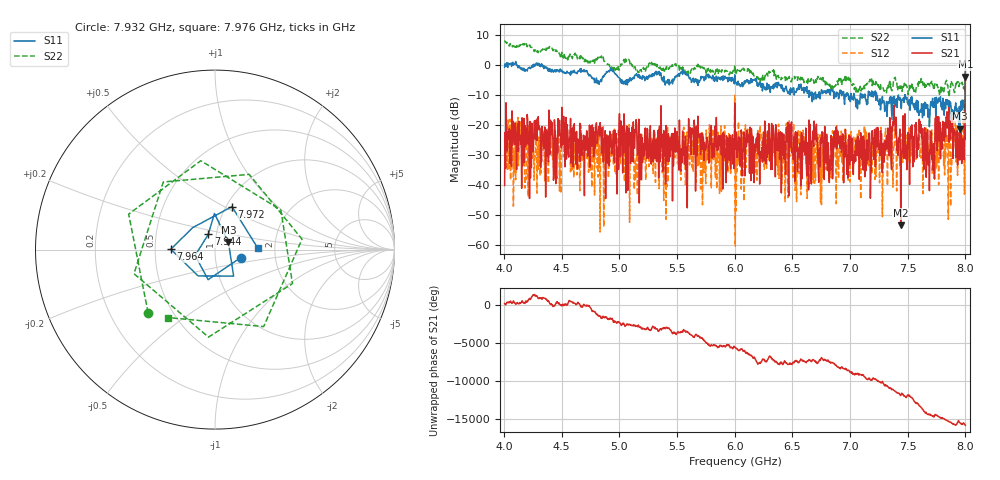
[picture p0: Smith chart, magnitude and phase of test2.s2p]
# Hz S RI R 50
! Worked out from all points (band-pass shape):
!   1000 points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, 4.004 GHz to 8 GHz, reference 50 ohm
!   highest |S21| = -4.05 dB at 8 GHz (marker M1); lowest = -53.6 dB at 7.44 GHz (marker M2)
!   |S21| within 3 dB of the highest: 7.99943 GHz to end of sweep
!   lowest |S11| = -21.3 dB at 7.952 GHz (marker M3), VSWR 1.19, Z = 57.8 + j4.95 ohm
!   |S11| at or under -10 dB: 7.034 GHz to 7.088 GHz (53.79 MHz wide, 0.762 % of centre); 7.23 GHz to 7.476 GHz (245.9 MHz wide, 3.34 % of centre); 7.476 GHz to 7.997 GHz (521.2 MHz wide, 6.74 % of centre) (the widest 3 of 30)
!   |S22| runs from -10.8 to 8.0 dB; largest |S21 - S12| = 1.5
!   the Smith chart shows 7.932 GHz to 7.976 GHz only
!   S11 on the Smith chart (normalised r, x): 7.932 GHz: 1.33, -0.12; 7.944 GHz: 0.92, +0.16; 7.964 GHz: 0.60, +0.00; 7.972 GHz: 1.06, +0.55; 7.976 GHz: 1.63, +0.03
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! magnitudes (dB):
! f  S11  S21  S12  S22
! 4.004 GHz  -0.9  -40.3  -24.7  8.0
! 4.028 GHz  -0.7  -28.8  -35.3  6.8
! 4.232 GHz  -0.9  -21.1  -29.3  5.7
! 4.28 GHz  0.5  -21.3  -22.0  4.5
! 4.444 GHz  -2.2  -22.8  -36.5  4.4
! 4.488 GHz  -1.5  -23.0  -32.6  2.6
! 4.672 GHz  -2.4  -26.4  -32.6  2.5
! 5.336 GHz  -3.0  -21.9  -23.9  -0.3
! 6.004 GHz  -6.1  -26.8  -60.5  -3.0
! 6.668 GHz  -9.1  -25.6  -34.4  -5.0
! 7.336 GHz  -13.0  -26.7  -24.4  -7.5
! 7.44 GHz  -12.5  -53.6  -23.1  -7.7
! 7.616 GHz  -15.8  -20.0  -31.2  -4.7
! 7.672 GHz  -13.4  -21.7  -29.0  -6.6
! 7.844 GHz  -11.7  -21.2  -23.3  -6.9
! 7.932 GHz  -16.5  -33.5  -36.9  -5.8
! 7.944 GHz  -20.6  -26.9  -27.6  -7.4
! 7.952 GHz  -21.3  -31.8  -31.2  -6.2
! 7.964 GHz  -12.2  -22.8  -27.6  -6.7
! 7.972 GHz  -11.8  -28.3  -30.2  -5.9
! 7.976 GHz  -12.4  -24.6  -25.8  -6.7
! 8 GHz  -1.9  -4.1  -1.1  0.3
